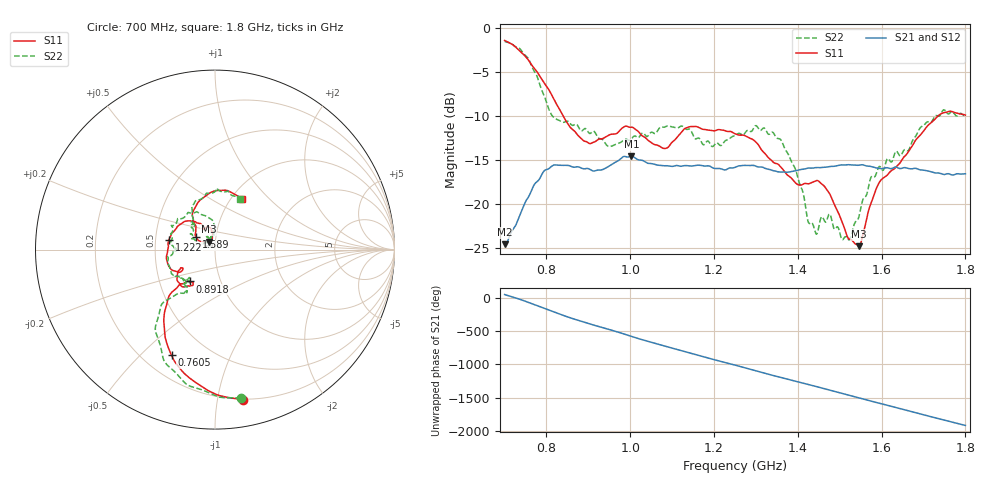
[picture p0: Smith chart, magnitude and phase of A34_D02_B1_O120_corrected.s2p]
! Created with skrf 1.9.0 (http://scikit-rf.org).
# Hz S RI R 50.0
!freq ReS11 ImS11 ReS21 ImS21 ReS12 ImS12 ReS22 ImS22
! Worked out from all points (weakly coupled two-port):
!   1601 points, 700 MHz to 1.8 GHz, reference 50 ohm
!   highest |S21| = -14.59 dB at 1.002 GHz (marker M1); lowest = -24.6 dB at 700 MHz (marker M2)
!   lowest |S11| = -24.8 dB at 1.546 GHz (marker M3), VSWR 1.12, Z = 46.4 + j4.18 ohm
!   |S11| at or under -10 dB: 839.6 MHz to 1.735 GHz (895.1 MHz wide, 69.5 % of centre)
!   |S22| runs from -24.1 to -1.5 dB; largest |S21 - S12| = 0.0035
!   S11 on the Smith chart (normalised r, x): 700 MHz: 0.20, -1.19; 760.5 MHz: 0.31, -0.62; 891.8 MHz: 0.71, -0.27; 1.222 GHz: 0.59, +0.07; 1.589 GHz: 0.80, +0.11; 1.8 GHz: 1.12, +0.70
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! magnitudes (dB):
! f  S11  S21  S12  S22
! 700 MHz  -1.4  -24.6  -24.4  -1.5
! 760.5 MHz  -3.9  -18.9  -18.8  -3.9
! 814.1 MHz  -7.8  -15.7  -15.7  -10.0
! 883.6 MHz  -12.6  -15.9  -15.8  -11.7
! 891.8 MHz  -12.9  -16.0  -16.0  -11.4
! 949.6 MHz  -12.2  -15.7  -15.7  -13.5
! 1.002 GHz  -11.3  -14.6  -14.7  -12.6
! 1.067 GHz  -13.4  -15.6  -15.6  -11.5
! 1.141 GHz  -11.3  -15.7  -15.7  -11.5
! 1.222 GHz  -11.6  -16.1  -16.1  -13.1
! 1.25 GHz  -12.0  -15.9  -15.8  -12.2
! 1.3 GHz  -13.0  -15.7  -15.7  -11.1
! 1.359 GHz  -15.8  -16.4  -16.4  -12.7
! 1.394 GHz  -17.6  -16.2  -16.2  -16.1
! 1.434 GHz  -17.6  -16.0  -15.9  -22.2
! 1.472 GHz  -18.6  -15.8  -15.8  -21.5
! 1.522 GHz  -24.0  -15.6  -15.6  -24.1
! 1.546 GHz  -24.8  -15.6  -15.6  -21.5
! 1.589 GHz  -18.1  -15.9  -15.9  -16.3
! 1.617 GHz  -16.5  -16.0  -15.9  -14.9
! 1.737 GHz  -9.9  -16.5  -16.6  -10.0
! 1.8 GHz  -9.9  -16.6  -16.6  -10.0
